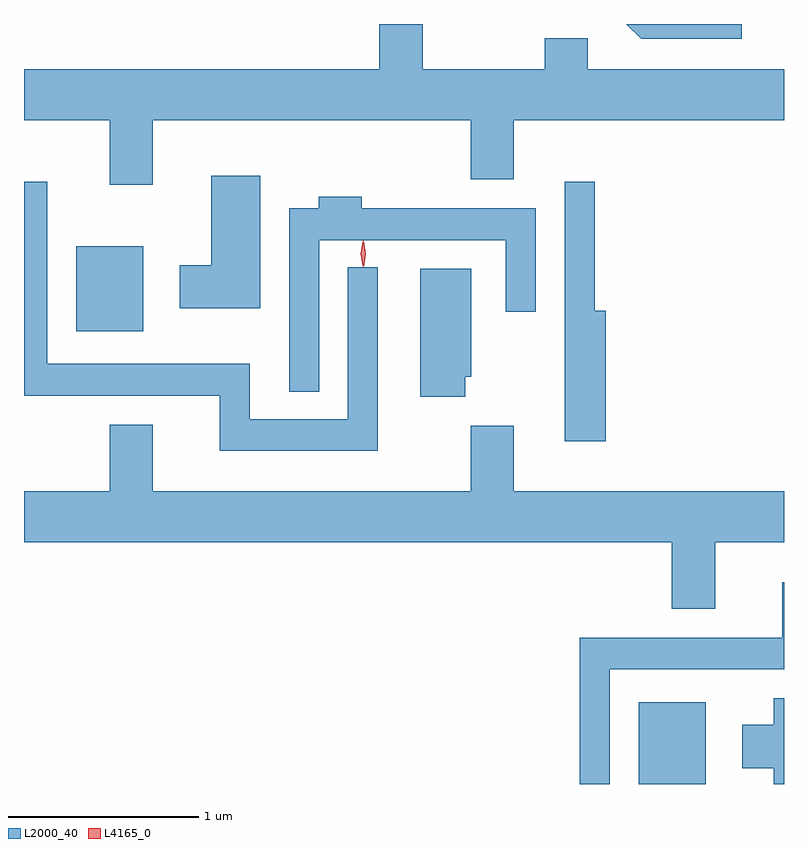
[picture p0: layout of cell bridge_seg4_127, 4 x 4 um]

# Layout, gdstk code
import gdstk
lib = gdstk.Library(unit=1e-6, precision=1e-09)
def R(c, l, rs):  # rectangles x0, y0, x1, y1
    for r in rs: c.add(gdstk.rectangle(r[:2], r[2:], *l))
def P(c, l, *ps):  # polygons
    for p in ps: c.add(gdstk.Polygon(p, *l))
L2000_40 = (2000, 40)
L4165_0 = (4165, 0)

bridge_seg4_127 = lib.new_cell('bridge_seg4_127')
R(bridge_seg4_127, L2000_40, [(870.936,1313.443,871.289,1313.874), (867.976,1315.826,868.329,1316.274)])
P(bridge_seg4_127, L2000_40, [(868.379,1316.936),(870.051,1316.936),(870.051,1316.626),(870.279,1316.626),(870.279,1316.936),(871.701,1316.936),(871.701,1317.204),(870.669,1317.204),(870.669,1317.369),(870.441,1317.369),(870.441,1317.204),(869.799,1317.204),(869.799,1317.443),(869.571,1317.443),(869.571,1317.204),(867.701,1317.204),(867.701,1316.936),(868.151,1316.936),(868.151,1316.596),(868.379,1316.596)],
  [(871.478,1317.443),(870.872,1317.443),(870.949,1317.366),(871.478,1317.366)],
  [(868.944,1316.644),(868.686,1316.644),(868.686,1316.174),(868.521,1316.174),(868.521,1315.946),(868.944,1315.946)],
  [(870.764,1315.934),(870.704,1315.934),(870.704,1316.613),(870.546,1316.613),(870.546,1315.246),(870.764,1315.246)],
  [(869.564,1316.163),(869.406,1316.163),(869.406,1315.364),(868.889,1315.364),(868.889,1315.654),(867.824,1315.654),(867.824,1316.613),(867.701,1316.613),(867.701,1315.486),(868.731,1315.486),(868.731,1315.196),(869.564,1315.196)],
  [(869.254,1316.306),(870.236,1316.306),(870.236,1315.928),(870.394,1315.928),(870.394,1316.474),(869.479,1316.474),(869.479,1316.534),(869.251,1316.534),(869.251,1316.474),(869.096,1316.474),(869.096,1315.508),(869.254,1315.508)],
  [(870.024,1315.586),(870.054,1315.586),(870.054,1316.154),(869.786,1316.154),(869.786,1315.481),(870.024,1315.481)],
  [(871.339,1314.716),(871.701,1314.716),(871.701,1314.984),(870.279,1314.984),(870.279,1315.329),(870.051,1315.329),(870.051,1314.984),(868.379,1314.984),(868.379,1315.334),(868.151,1315.334),(868.151,1314.984),(867.701,1314.984),(867.701,1314.716),(871.111,1314.716),(871.111,1314.366),(871.339,1314.366)],
  [(870.784,1314.046),(871.701,1314.046),(871.701,1314.504),(871.691,1314.504),(871.691,1314.214),(870.626,1314.214),(870.626,1313.443),(870.784,1313.443)],
  [(871.701,1313.894),(871.646,1313.894),(871.646,1313.754),(871.481,1313.754),(871.481,1313.526),(871.646,1313.526),(871.646,1313.443),(871.701,1313.443)])
P(bridge_seg4_127, L4165_0, [(869.488,1316.164),(869.479,1316.233),(869.489,1316.302),(869.49,1316.303),(869.49,1316.302),(869.499,1316.233),(869.489,1316.164),(869.489,1316.164)],
  [(869.484,1316.167),(869.484,1316.167),(869.474,1316.234),(869.484,1316.3),(869.484,1316.301),(869.485,1316.3),(869.494,1316.234),(869.485,1316.167)])

lib.write_gds('bridge_seg4_127.gds')
